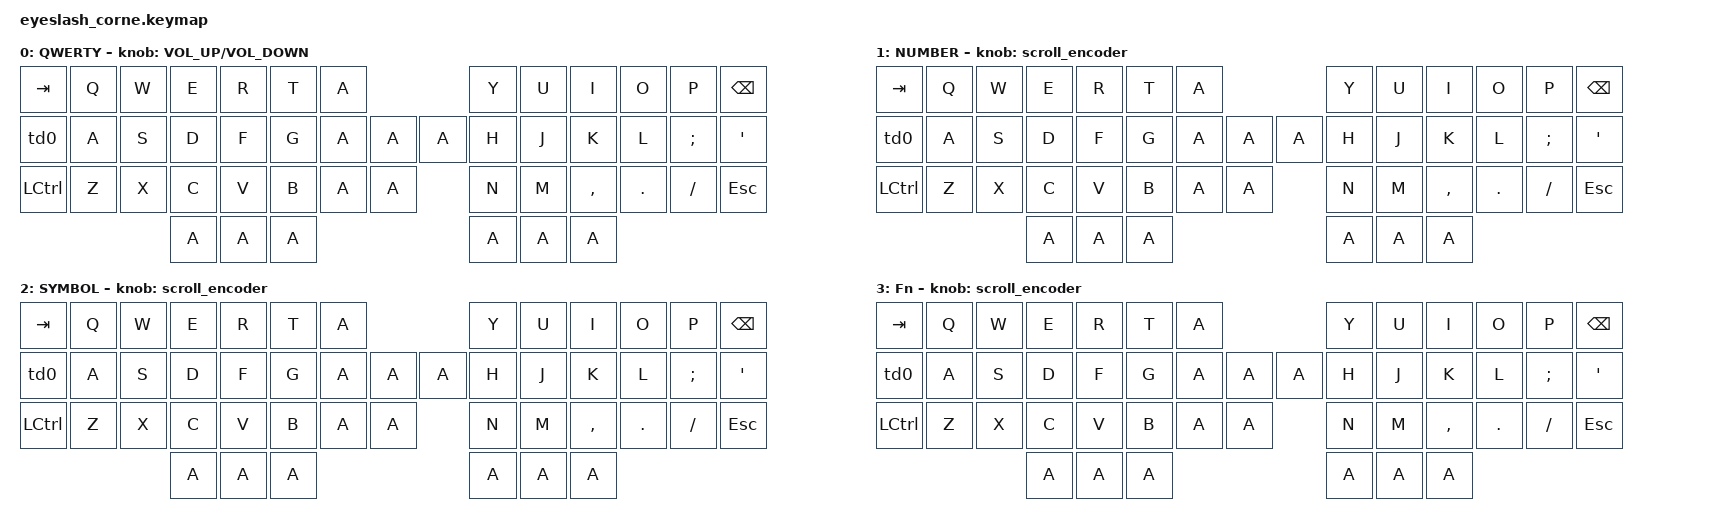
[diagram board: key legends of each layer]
#define ZMK_POINTING_DEFAULT_MOVE_VAL 1200  // 600
#define ZMK_POINTING_DEFAULT_SCRL_VAL 25   // 10

#include <input/processors.dtsi>
#include <zephyr/dt-bindings/input/input-event-codes.h>
#include <behaviors.dtsi>
#include <dt-bindings/zmk/bt.h>
#include <dt-bindings/zmk/ext_power.h>
#include <dt-bindings/zmk/keys.h>
#include <dt-bindings/zmk/pointing.h>
#include <dt-bindings/zmk/outputs.h>
#include <dt-bindings/zmk/rgb.h>

&mmv_input_listener { input-processors = <&zip_xy_scaler 2 1>; };

&msc_input_listener { input-processors = <&zip_scroll_scaler 2 1>; };

&msc {
    acceleration-exponent = <1>;      // 0
    time-to-max-speed-ms = <100>;       // 300
    delay-ms = <0>;                   // 0
};

&mmv {
    time-to-max-speed-ms = <500>;
    acceleration-exponent = <1>;
    trigger-period-ms = <16>;
};


/ {
    behaviors {
        td0: td0 {
            compatible = "zmk,behavior-tap-dance";
            display-name = "Shift/Caps Lock Tap Dance";
            #binding-cells = <0>;
            bindings = <&kp LEFT_SHIFT>, <&kp CAPS>;
        };
    };

    rgb_encoder: rgb_encoder {
        compatible = "zmk,behavior-sensor-rotate";
        #sensor-binding-cells = <0>;
        bindings = <&rgb_ug RGB_BRI>, <&rgb_ug RGB_BRD>;
    };

    scroll_encoder: scroll_encoder {
        compatible = "zmk,behavior-sensor-rotate";
        #sensor-binding-cells = <0>;
        bindings = <&msc SCRL_DOWN>, <&msc SCRL_UP>;
        tap-ms = <100>;
    };

    keymap {
        compatible = "zmk,keymap";

        default_layer {
            display-name = "QWERTY";
            bindings = <
&kp TAB    &kp Q  &kp W      &kp E     &kp R  &kp T       &kp A               &kp Y        &kp U  &kp I      &kp O    &kp P     &kp BSPC
&td0       &kp A  &kp S      &kp D     &kp F  &kp G       &kp A &kp A &kp A   &kp H        &kp J  &kp K      &kp L    &kp SEMI  &kp SQT
&kp LCTRL  &kp Z  &kp X      &kp C     &kp V  &kp B       &kp A &kp A         &kp N        &kp M  &kp COMMA  &kp DOT  &kp FSLH  &kp ESC
                             &kp A    &kp A    &kp A                          &kp A    &kp A    &kp A
            >;
            sensor-bindings = <&inc_dec_kp C_VOLUME_UP C_VOLUME_DOWN>;
        };

        lower_layer {
            display-name = "NUMBER";
            bindings = <
&kp TAB    &kp Q  &kp W      &kp E     &kp R  &kp T       &kp A               &kp Y        &kp U  &kp I      &kp O    &kp P     &kp BSPC
&td0       &kp A  &kp S      &kp D     &kp F  &kp G       &kp A &kp A &kp A   &kp H        &kp J  &kp K      &kp L    &kp SEMI  &kp SQT
&kp LCTRL  &kp Z  &kp X      &kp C     &kp V  &kp B       &kp A &kp A         &kp N        &kp M  &kp COMMA  &kp DOT  &kp FSLH  &kp ESC
                             &kp A    &kp A    &kp A                          &kp A    &kp A    &kp A
	>;
            sensor-bindings = <&scroll_encoder>;
        };

        raise_layer {
            display-name = "SYMBOL";
            bindings =  <
&kp TAB    &kp Q  &kp W      &kp E     &kp R  &kp T       &kp A               &kp Y        &kp U  &kp I      &kp O    &kp P     &kp BSPC
&td0       &kp A  &kp S      &kp D     &kp F  &kp G       &kp A &kp A &kp A   &kp H        &kp J  &kp K      &kp L    &kp SEMI  &kp SQT
&kp LCTRL  &kp Z  &kp X      &kp C     &kp V  &kp B       &kp A &kp A         &kp N        &kp M  &kp COMMA  &kp DOT  &kp FSLH  &kp ESC
                             &kp A    &kp A    &kp A                          &kp A    &kp A    &kp A
	>;
            sensor-bindings = <&scroll_encoder>;
        };

        layer_3 {
            display-name = "Fn";
            bindings = <
&kp TAB    &kp Q  &kp W      &kp E     &kp R  &kp T       &kp A               &kp Y        &kp U  &kp I      &kp O    &kp P     &kp BSPC
&td0       &kp A  &kp S      &kp D     &kp F  &kp G       &kp A &kp A &kp A   &kp H        &kp J  &kp K      &kp L    &kp SEMI  &kp SQT
&kp LCTRL  &kp Z  &kp X      &kp C     &kp V  &kp B       &kp A &kp A         &kp N        &kp M  &kp COMMA  &kp DOT  &kp FSLH  &kp ESC
                             &kp A    &kp A    &kp A                          &kp A    &kp A    &kp A
	>;
            sensor-bindings = <&scroll_encoder>;
        };
    };
};
